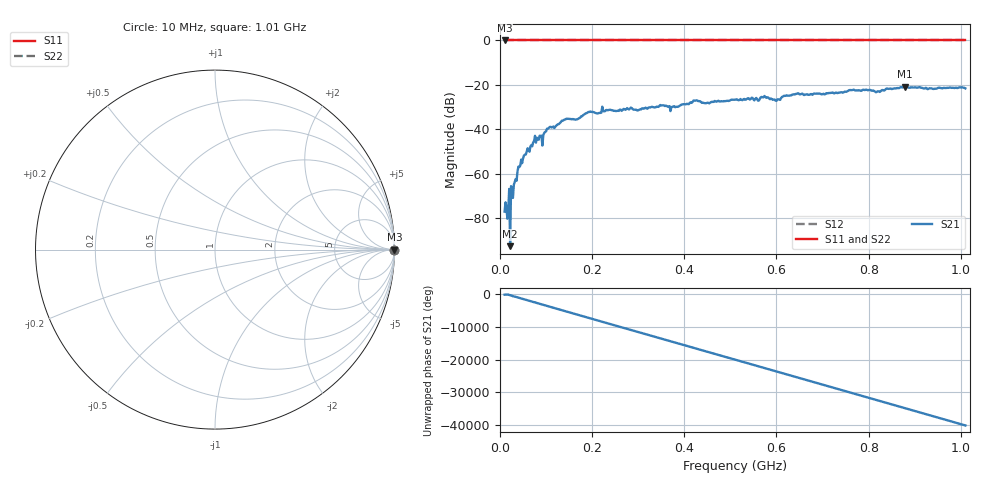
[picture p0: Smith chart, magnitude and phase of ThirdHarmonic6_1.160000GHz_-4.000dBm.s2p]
! 8/16/2025 11:36:56 AM
! C:\ANRITSUVNA\TEMP\TEMP.S2P
! CHANNEL.1
! TR.MEASUREMENT
! RAW.DATA
! RF.CORRECTION.OFF
! AVERAGING.OFF
! IF.BANDWIDTH: 5KHZ
! SWEEPTYPE:  FREQ.SWEEP(Linear)
! Reference Plane Port Info
! PORT:  PORT1  PORT2
! DISTANCE:  0  m  0  m
! TIME:  0  s  0  s
! PHASE.OFFSET:  0  deg.  0  deg.
! LOSS:  0  dB  0  dB
! REF.LOSS:  0  dB  0  dB
! REF.FREQ:  0  Hz  0  Hz
! Power Info
! POWER:  -20  dBm  -20  dBm
! EFF.POWER:  -20  dBm  -20  dBm
! SOURCE.ATTEN:  0  dB  0  dB
! TEST.ATTEN:  0  dB  0  dB
# GHZ S RI R 50.0
! FREQ.GHZ  S11RE  S11IM  S21RE  S21IM  S12RE  S12IM  S22RE  S22IM
!; PortSelection: Port_12
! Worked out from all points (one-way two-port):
!   501 points, 10 MHz to 1.01 GHz, reference 50 ohm
!   highest |S21| = -20.90 dB at 878 MHz (marker M1); lowest = -92.7 dB at 22 MHz (marker M2)
!   lowest |S11| = 0.0 dB at 10 MHz (marker M3)
!   |S11| at or under -10 dB: nowhere
!   |S22| runs from 0.0 to 0.0 dB; largest |S21 - S12| = 1.1
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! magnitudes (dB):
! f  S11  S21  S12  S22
! 10 MHz  0.0  -77.2  0.0  0.0
! 14 MHz  0.0  -75.3  0.0  0.0
! 16 MHz  0.0  -80.4  0.0  0.0
! 18 MHz  0.0  -76.4  0.0  0.0
! 22 MHz  0.0  -92.7  0.0  0.0
! 26 MHz  0.0  -66.6  0.0  0.0
! 28 MHz  0.0  -71.0  0.0  0.0
! 32 MHz  0.0  -63.8  0.0  0.0
! 42 MHz  0.0  -57.1  0.0  0.0
! 76 MHz  0.0  -43.0  0.0  0.0
! 138 MHz  0.0  -36.0  0.0  0.0
! 178 MHz  0.0  -34.2  0.0  0.0
! 226 MHz  0.0  -31.9  0.0  0.0
! 344 MHz  0.0  -29.9  0.0  0.0
! 510 MHz  0.0  -26.7  0.0  0.0
! 572 MHz  0.0  -25.6  0.0  0.0
! 602 MHz  0.0  -26.6  0.0  0.0
! 644 MHz  0.0  -24.1  0.0  0.0
! 678 MHz  0.0  -24.5  0.0  0.0
! 844 MHz  0.0  -21.8  0.0  0.0
! 878 MHz  0.0  -20.9  0.0  0.0
! 1.01 GHz  0.0  -21.6  0.0  0.0
